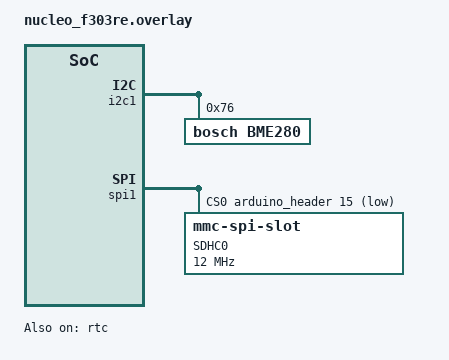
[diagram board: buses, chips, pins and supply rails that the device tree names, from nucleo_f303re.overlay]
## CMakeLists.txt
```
cmake_minimum_required(VERSION 3.13.1)
find_package(Zephyr REQUIRED HINTS $ENV{ZEPHYR_BASE})
project(condition_monitor)

FILE(GLOB app_sources src/*.c)
target_sources(app PRIVATE ${app_sources}) 
```

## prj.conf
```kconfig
CONFIG_GPIO=y
CONFIG_I2C=y
CONFIG_SPI=y
CONFIG_CONSOLE=y
CONFIG_SENSOR=y
CONFIG_BME280=y
CONFIG_LOG=n
CONFIG_KERNEL_LOG_LEVEL_DBG=n
CONFIG_PRINTK=n
CONFIG_COUNTER=y
CONFIG_COUNTER_LOG_LEVEL_DBG=y

CONFIG_DISK_ACCESS=y
CONFIG_DISK_LOG_LEVEL_DBG=n
CONFIG_FS_LOG_LEVEL_DBG=n
CONFIG_SDMMC_LOG_LEVEL_DBG=n
CONFIG_SPI_LOG_LEVEL_DBG=n
CONFIG_FILE_SYSTEM=y
CONFIG_FAT_FILESYSTEM_ELM=y
CONFIG_DISK_DRIVER_SDMMC=y
CONFIG_SDMMC_OVER_SPI=y
CONFIG_FS_FATFS_EXFAT=n
CONFIG_MAIN_STACK_SIZE=2048

CONFIG_RING_BUFFER=y
CONFIG_POLL=y

CONFIG_UART_PIPE=y
CONFIG_UART_PIPE_ON_DEV_NAME="zephyr_console"
```

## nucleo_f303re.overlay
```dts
&i2c1 {
	status ="okay";
	bme280@76 {
		compatible = "bosch,bme280";
		status = "okay";
		reg = <0x76>;
		label = "BME280";
	};	
};

&spi1 {
	status = "okay";
	cs-gpios = <&arduino_header 15 GPIO_ACTIVE_LOW>;

        sdhc0: sdhc@0 {
                compatible = "zephyr,mmc-spi-slot";
		status = "okay";
                reg = <0>;
                label = "SDHC0";
                spi-max-frequency = <12000000>;
        };
};

&rtc {
	status = "okay";
};
```

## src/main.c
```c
#include <zephyr.h>
#include <device.h>
#include <devicetree.h>
#include <kernel.h>
#include <sys/ring_buffer.h>
#include <drivers/sensor.h>
#include <drivers/uart.h>
#include <drivers/counter.h>
#include <drivers/console/uart_pipe.h>
#include <storage/disk_access.h>
#include <fs/fs.h>
#include <ff.h>
#include "rtc_app.h"
#include "bme280_app.h"
#include <logging/log.h>
#include "console_cmds.h"
#include "disk_cmds.h"
LOG_MODULE_REGISTER(main);

/* DISCLAIMER:
 * THIS CODE REVISION SHOULD BE TREATED AS PROOF-OF-CONCEPT THING.
 * IT IS WRITTEN IN TERRIBLY BAD MANNER AND IT WILL BE CORRECTED LATER.
 * KEEP THAT IN MIND (nobody cares about that but whatever) */

#define CONSOLE_BUF_SIZE	(255U)

/* file system ops */
#define DISK_NAME	"SD"
#define FATFS_MOUNT_PT	"/SD:"

/* fat_fs data */
static FATFS fat_fs;
/* mounting info */
static struct fs_mount_t mp = {
	.type = FS_FATFS,
	.fs_data = &fat_fs,
	.mnt_point = FATFS_MOUNT_PT, 
};

static struct k_pipe fs_ops_path_pipe;
static struct k_pipe sensor_data_pipe;

/* k_poll_signal object */
static struct k_poll_signal disk_sig;

/* pipe uart buffer */
static uint8_t console_rx_buf[CONSOLE_BUF_SIZE];
static uint8_t *console_rx_handler(uint8_t *buf, size_t *off); 
static void console_worker(struct k_work *item);

struct console_context {
	const struct device *dev;
	struct k_work wq_item;
	uint8_t * const rx_buf;
	const uint8_t rx_buf_size;
	uint8_t rx_buf_len;
	uint8_t cont_flag;
};

static struct console_context console_ctx = {
	//.dev		= DEVICE_DT_GET(DT_NODELABEL(usart2)),
	.dev		= DEVICE_DT_GET(DT_CHOSEN(zephyr_console)),
	.rx_buf		= console_rx_buf,
	.rx_buf_size	= CONSOLE_BUF_SIZE,
	.rx_buf_len	= 0,
};

static struct bme280_context bme280_ctx;

void bme280_worker(struct k_work *item);

void disk_worker(void *a, void *b, void *c);

/*
 *Define and initialize threads.
 */
K_THREAD_STACK_DEFINE(disk_stack, 4096);
static struct k_thread disk_thr;

static int disk_init(const char *pdrv);
static int ls(const char *path);

void rtc_alarm_handler(const struct device *dev, uint8_t chan_id,
				uint32_t ticks, void *user_data);

static struct counter_alarm_cfg rtc_alarm_cfg = {
	.callback	= rtc_alarm_handler,
	.ticks		= 2U,
	.user_data	= (struct counter_alarm_cfg*) &rtc_alarm_cfg,
	.flags		= 0,
};

const struct device *rtc = NULL;

void main(void)
{	
	if (rtc_get_device(&rtc)) {
		for (;;);
	}

	if (bme280_get_device(&bme280_ctx.dev)) {
		for (;;);
	}

	if (disk_init(DISK_NAME)) {
		for (;;);
	}

	if (fs_mount(&mp)) {
		for (;;);
	}
	printk("ok\n");

	uart_pipe_register(console_rx_buf, CONSOLE_BUF_SIZE, console_rx_handler);

	k_pipe_init(&fs_ops_path_pipe, NULL, 0);
	k_pipe_init(&sensor_data_pipe, NULL, 0);

	k_poll_signal_init(&disk_sig);

	k_work_init(&bme280_ctx.wq_item, bme280_worker);
	k_work_init(&console_ctx.wq_item, console_worker);

	k_thread_create(&disk_thr, disk_stack, 4096,disk_worker, NULL, NULL,
						NULL, -2, 0, K_NO_WAIT); 

	while (1) {
	
	}
}

void disk_worker(void *a, void *b, void *c)
{
	int status = 10;
	ssize_t bytes_read = 10;
	ssize_t bytes_written;
	struct k_poll_event disk_events[1] = {
		K_POLL_EVENT_INITIALIZER(K_POLL_TYPE_SIGNAL,
					K_POLL_MODE_NOTIFY_ONLY,
					&disk_sig),
	};

	struct bme280_state sensor_data[2];
	char fs_ops_buf[CONSOLE_BUF_SIZE]; 
	char sensor_data_stream[512]; //number completely out of blue 
	char file_header[32];
	uint32_t ticks;
	unsigned int off = 0;
	

	struct fs_file_t file[2];

	for (;;) {
		k_poll(disk_events, 1, K_FOREVER);

		if (disk_events[0].signal->result == FILE_CREATE) {
			off = 6;
		} else if (disk_events[0].signal->result == FILE_READ) {
			off = 3;
		}

		status = k_pipe_get(&fs_ops_path_pipe, fs_ops_buf, console_ctx.rx_buf_len - off, &bytes_read,
								console_ctx.rx_buf_len - off, K_NO_WAIT);

		switch (disk_events[0].signal->result) {
		case LIST_FILES:
			ls(FATFS_MOUNT_PT); 
			break;	
		case FILE_CREATE:
			fs_file_t_init(&file[WRITE_DESC]);
			status = fs_open(&file[WRITE_DESC], (const char*) fs_ops_buf,
					FS_O_CREATE | FS_O_WRITE | FS_O_APPEND);
			if (status) {
				printk("fs_open error: %d\n", status);
			}

			fs_write(&file[WRITE_DESC], &rtc_alarm_cfg.ticks,
					sizeof(rtc_alarm_cfg.ticks)); 
			break;
		case FILE_WRITE:
			status = k_pipe_get(&sensor_data_pipe, &sensor_data[WRITE_DESC],
				sizeof(*sensor_data), &bytes_read, sizeof(*sensor_data),
									K_FOREVER);	
			bytes_written = fs_write(&file[WRITE_DESC], &sensor_data[WRITE_DESC],
									sizeof(*sensor_data));

			if (bytes_written < 0) {
				printk("fs_write fail: %d\n", bytes_written);
			}
			break;
		case FILE_READ:
			fs_file_t_init(&file[READ_DESC]);
			status = fs_open(&file[READ_DESC], (const char*) fs_ops_buf,
									FS_O_READ);
			if (status < 0) {
				printk("fs_open error: %d\n", status);
			}

			fs_read(&file[READ_DESC], &ticks, sizeof(ticks));
			snprintk(file_header, 32, "interval: %u\n", ticks);
			uart_pipe_send((const uint8_t*) file_header, strlen(file_header));

			for (;;) {
				bytes_read = fs_read(&file[READ_DESC], &sensor_data[READ_DESC],
									sizeof(*sensor_data));
				if (bytes_read <= 0) {
					break;
				}

				snprintk(sensor_data_stream, 512, 
					"temp: %d.%06d; press: %d.%06d; humidity: %d.%06d;\n",
					sensor_data[READ_DESC].temp.val1,
					sensor_data[READ_DESC].temp.val2,
					sensor_data[READ_DESC].press.val1 * 10,
					sensor_data[READ_DESC].press.val2,
					sensor_data[READ_DESC].humidity.val1,
					sensor_data[READ_DESC].humidity.val2);

				uart_pipe_send((const uint8_t*) sensor_data_stream,
							strlen(sensor_data_stream));
					
			}

			uart_pipe_send((const uint8_t*) "EOF\n", 4);

			fs_close(&file[READ_DESC]);
			break;
		case FILE_CLOSE:
			fs_close(&file[WRITE_DESC]);
			break;
		default:
			break;
		}
		
		/* reset the disk_events state */
		disk_events[0].signal->signaled = 0;
		disk_events[0].state = K_POLL_STATE_NOT_READY;
	}
}

static int disk_init(const char *pdrv)
{
	uint32_t block_count;
	uint32_t block_size;
	uint64_t memory_size_mb;

	if (disk_access_init(pdrv) != 0) {
		LOG_ERR("Storage init ERROR!");
		return -ENODEV;
	}

	if (disk_access_ioctl(pdrv, DISK_IOCTL_GET_SECTOR_COUNT,
						&block_count)) {
		LOG_ERR("Unable to get sector count");
		return -ENODEV;
	}
	LOG_INF("Block count %u", block_count);

	if (disk_access_ioctl(pdrv, DISK_IOCTL_GET_SECTOR_SIZE,
						&block_size)) {
		LOG_ERR("Unable to get sector size");
		return -ENODEV;
	}
	printk("Sector size %u\n", block_size);

	memory_size_mb = (uint64_t)block_count * block_size;
	printk("Memory Size(MB) %u\n", (uint32_t)(memory_size_mb >> 20));

	return 0;
}

void rtc_alarm_handler(const struct device *dev, uint8_t chan_id,
					uint32_t ticks, void *user_data)
{
	int status;
	const struct counter_alarm_cfg *cfg;
	
	cfg = user_data;

	status = k_work_submit(&bme280_ctx.wq_item);
	if (status < 0) {
		LOG_ERR("submission to workqueue failed: %d", status);
		return;
	}

	status = counter_set_channel_alarm(dev, 0, cfg);
	if (status) {
		LOG_ERR("Unable to set channel alarm: %d", status);	
		return;
	}
}

void bme280_worker(struct k_work *item)
{
	int status;
	size_t bytes_written;
	struct bme280_context *ctx;
	struct bme280_state state;
	char buf[512];

	ctx = CONTAINER_OF(item, struct bme280_context, wq_item);

	sensor_sample_fetch(ctx->dev);
	sensor_channel_get(ctx->dev, SENSOR_CHAN_AMBIENT_TEMP, &state.temp);
	sensor_channel_get(ctx->dev, SENSOR_CHAN_PRESS, &state.press);
	sensor_channel_get(ctx->dev, SENSOR_CHAN_HUMIDITY, &state.humidity);

	k_poll_signal_raise(&disk_sig, FILE_WRITE);
	status = k_pipe_put(&sensor_data_pipe, &state, sizeof(struct bme280_state),
				&bytes_written, sizeof(struct bme280_state), K_FOREVER);	
	if (status) {
		printk("k_pipe_put() failed!\n");
	}

	if (console_ctx.cont_flag) {
		snprintk(buf, 512, "temp: %d.%06d; press: %d.%06d; humidity: %d.%06d;\n",
			state.temp.val1, state.temp.val2,
			state.press.val1, state.press.val2,
			state.humidity.val1, state.humidity.val2);

		uart_pipe_send((const char*) buf, strlen(buf));
	}
}

static uint8_t *console_rx_handler(uint8_t *buf, size_t *off)
{
	int status;
	char *const c = &buf[(*off) - 1];

	if (*c == '\r' || *c == '\n') {
		if (*off > 2) {
			/* simple workaround to buffer sharing, stupid as hell */
			uart_irq_rx_disable(console_ctx.dev);

			*c = '\0';

			status = k_work_submit(&console_ctx.wq_item);
			if (status < 0) {
				LOG_ERR("submission to workqueue failed: %d",
								status);
			}
			console_ctx.rx_buf_len = *off;
		}
		*off = 0;
	} else if (*off >= console_ctx.rx_buf_size) {
		*off = 0;		
	}	

	return buf;
}

static inline uint8_t console_get_num(const uint8_t *buf)
{
	return (*(buf + 1) - 48) + ((*buf) - 48) * 10;
}

/* ASSUMPTION: the command consists of two bytes */
static inline uint8_t console_get_command_id(const uint8_t *buf)
{
	return console_get_num(buf);
}

static void console_worker(struct k_work *item)
{
	int status;
	unsigned int off = 0;
	size_t bytes_written;
	enum disk_cmds disk_cmd = NOP;
	const uint8_t cmd_id = console_get_command_id(console_ctx.rx_buf);	

	switch (cmd_id) {
	case START_MEASUREMENTS:
		disk_cmd = FILE_CREATE;
		/* <cmd-id(2 bytes)>:<sample-rate(2 bytes)>:<file-name> */
		off = 6;
		rtc_alarm_cfg.ticks = console_get_num(&console_ctx.rx_buf[3]);
		counter_set_channel_alarm(rtc, 0, &rtc_alarm_cfg); 
		break;	
	case STOP_MEASUREMENTS:
		counter_cancel_channel_alarm(rtc, 0);
		disk_cmd = FILE_CLOSE;
		break;
	case GET_MEASUREMENTS:
		off = 3;
		disk_cmd = FILE_READ;
		break;
	case GET_CONTINUOUS_MEASUREMENTS:
		console_ctx.cont_flag ^= 1;
		break;
	case LIST_MEASUREMENTS:
		disk_cmd = LIST_FILES;
		break;
	default:
		break;
	}

	if (disk_cmd != NOP) {
		k_poll_signal_raise(&disk_sig, disk_cmd);
		if (disk_cmd == FILE_READ || disk_cmd == FILE_CREATE) {
			status = k_pipe_put(&fs_ops_path_pipe, &console_ctx.rx_buf[off],
					console_ctx.rx_buf_len - off, &bytes_written, 
					console_ctx.rx_buf_len - off, K_FOREVER);	
			if (status) {
				printk("k_pipe_put() failed!\n");
			}
		}
	}

	/* enable the rx interrupts again */
	uart_irq_rx_enable(console_ctx.dev);
}

static int ls(const char *path)
{
	int status;
	struct fs_dir_t dir;
	struct fs_dirent dir_entry;
	char buf[128];

	/* initialize directory instance */	
	fs_dir_t_init(&dir);

	status = fs_opendir(&dir, path);
	if (status < 0) {
		printk("fs_opendir() error: %d\n", status);
		return -EINVAL;	
	}

	for (;;) {
		status = fs_readdir(&dir, &dir_entry);
		if ((status < 0) || (dir_entry.name[0] == 0)) {
			break;
		}
				
		if (dir_entry.type == FS_DIR_ENTRY_FILE) {
			snprintk(buf, 128, "FILE: %s (%d bytes) ", dir_entry.name, 
								dir_entry.size);
		} else {
			snprintk(buf, 128, "DIR: %s ", dir_entry.name);
		}

		uart_pipe_send((const uint8_t*) buf, strlen(buf));
	}

	uart_pipe_send((const uint8_t*) "\n", 1);

	status = fs_closedir(&dir);
	if (status < 0) {
		printk("fs_closedir() error: %d\n", status);	
	}
	
	return 0;
}
```

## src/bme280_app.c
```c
#include <devicetree.h>
#include "bme280_app.h"

int bme280_get_device(const struct device **dev)
{
	*dev = DEVICE_DT_GET_ANY(bosch_bme280);
	printk("\n\"%x\"", (const int) *dev);
	
	if (*dev == NULL) {
		/* No such node, or the node does not have status "okay". */
		printk("\nError: no device found.\n");
		return -ENODEV;
	}

	if (!device_is_ready(*dev)) {
		printk("\nError: Device \"%s\" is not ready; "
		       "check the driver initialization logs for errors.\n",
		       (*dev)->name);
		return -EINVAL;
	}

	printk("Found device \"%s\", getting sensor data\n", (*dev)->name);
	return 0;
}
```

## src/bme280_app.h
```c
#ifndef _BME280_APP_H_
#define _BME280_APP_H_

#include <zephyr.h>
#include <device.h>
#include <kernel.h>
#include <drivers/sensor.h>

struct bme280_state {
	struct sensor_value temp, press, humidity;
};

struct bme280_context {
	const struct device *dev;
	struct k_work wq_item;
	struct bme280_state state;
};

int bme280_get_device(const struct device **dev);

#endif 
```

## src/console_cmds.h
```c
#ifndef _CONSOLE_CMDS_
#define _CONSOLE_CMDS_

enum console_cmds {
	START_MEASUREMENTS, /*FORMAT: "<00>;<interval>;<filename-path>" e.g "00;05;/SD:/11.05.2020" */
	STOP_MEASUREMENTS, /* "01" */
	GET_MEASUREMENTS, /* "<02>;<filename-path>" e.g. "02;/SD:/11.05.2020" */ 
	GET_CONTINUOUS_MEASUREMENTS, /* "03" */
	LIST_MEASUREMENTS, /* "04" */
};

#endif
```

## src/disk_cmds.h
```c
#ifndef _DISK_CMDS_
#define _DISK_CMDS_

enum disk_cmds {
	LIST_FILES,
	FILE_READ,
	FILE_WRITE,
	FILE_CLOSE,
	FILE_CREATE,
	NOP,
};

enum file_type {
	READ_DESC,
	WRITE_DESC,
};


#endif
```

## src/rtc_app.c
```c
#include <drivers/counter.h>
#include <devicetree.h>
#include "rtc_app.h"

int rtc_get_device(const struct device **dev)
{
	*dev = DEVICE_DT_GET_ANY(st_stm32_rtc);
	printk("\n\"%x\"", (const int) *dev);
	
	if (*dev == NULL) {
		printk("\nError: no device found.\n");
		return -ENODEV;
	}

	if (!device_is_ready(*dev)) {
		printk("\nError: Device \"%s\" is not ready; "
		       "check the driver initialization logs for errors.\n",
		       (*dev)->name);
		return -EINVAL;
	}

	printk("Found device \"%s\"\n", (*dev)->name);
	return 0;
}
```

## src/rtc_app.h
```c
#ifndef _RTC_APP_H_
#define _RTC_APP_H_

#include <zephyr.h>
#include <device.h>

int rtc_get_device(const struct device **dev);

#endif
```
